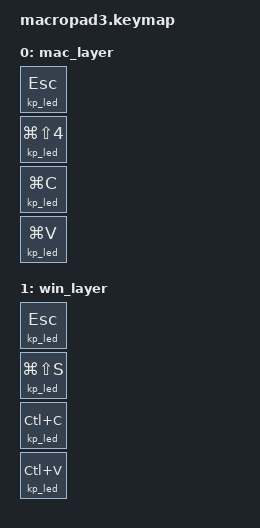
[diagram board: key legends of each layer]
#include <behaviors.dtsi>
#include <dt-bindings/zmk/keys.h>
#include <dt-bindings/zmk/bt.h>
#include <dt-bindings/zmk/outputs.h>
#include <dt-bindings/zmk/backlight.h>

/ {
    behaviors {
        // 按鍵閃紅燈巨集 (按下亮燈 50ms 後熄滅並輸出按鍵)
        kp_led: kp_led {
            compatible = "zmk,behavior-macro-one-param";
            #binding-cells = <1>;
            wait-ms = <0>;
            tap-ms = <50>;
            bindings
                = <&bl BL_ON>
                , <&macro_param_1to1>
                , <&kp MACRO_PLACEHOLDER>
                , <&bl BL_OFF>;
        };
    };

    combos {
        compatible = "zmk,combos";
        
        // D0 + D1 -> 切換 Windows / Mac 模式
        combo_tog_mac {
            timeout-ms = <100>;
            key-positions = <0 1>;
            bindings = <&tog 1>;
        };

        // D1 + D2 -> 清空藍牙配對記錄
        combo_bt_clear {
            timeout-ms = <100>;
            key-positions = <1 2>;
            bindings = <&bt BT_CLR_ALL>;
        };

        // D0 + D2 -> 強制切換 USB / 藍牙 模式
        combo_out_toggle {
            timeout-ms = <100>;
            key-positions = <0 2>;
            bindings = <&out OUT_TOG>;
        };

        // 免拆殼刷機：同時按下 D0 + D1 + D2 -> 自動進入 Bootloader 刷機模式
        combo_bootloader {
            timeout-ms = <100>;
            key-positions = <0 1 2>;
            bindings = <&bootloader>;
        };
    };

    keymap {
        compatible = "zmk,keymap";

        // Layer 0: Mac 模式 (預設)
        mac_layer {
            bindings = <
                &kp_led ESC         // D0: ESC 鍵
                &kp_led LG(LS(4))   // D1: Mac 區域截圖 (Cmd + Shift + 4)
                &kp_led LG(C)       // D2: 複製 (Cmd + C)
                &kp_led LG(V)       // D3: 貼上 (Cmd + V)
            >;
        };

        // Layer 1: Windows 模式
        win_layer {
            bindings = <
                &kp_led ESC         // D0: ESC 鍵
                &kp_led LG(LS(S))   // D1: Windows 區域截圖 (Win + Shift + S)
                &kp_led LC(C)       // D2: 複製 (Ctrl + C)
                &kp_led LC(V)       // D3: 貼上 (Ctrl + V)
            >;
        };
    };
};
